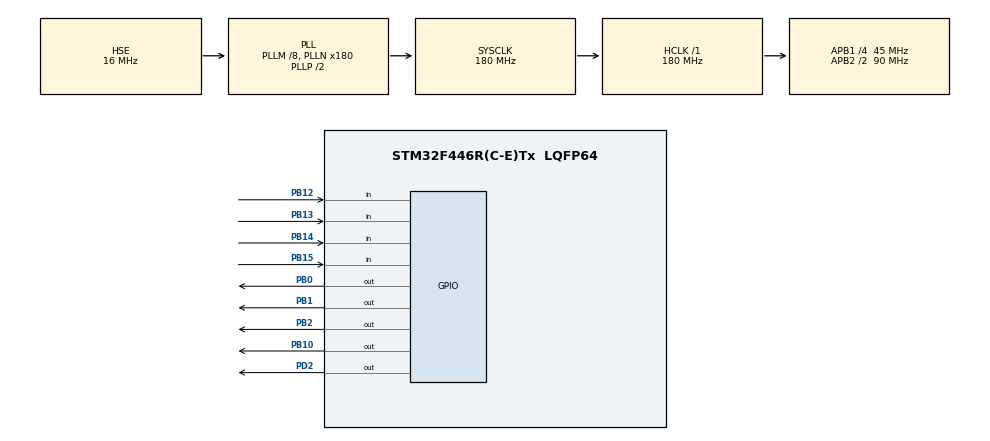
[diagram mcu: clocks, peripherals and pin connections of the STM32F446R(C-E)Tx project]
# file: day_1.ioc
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Mcu.Family=STM32F4
Mcu.Name=STM32F446R(C-E)Tx
Mcu.Package=LQFP64
NVIC.PriorityGroup=NVIC_PRIORITYGROUP_4
PA13.Mode=Serial_Wire
PA13.Signal=SYS_JTMS-SWDIO
PA14.Mode=Serial_Wire
PA14.Signal=SYS_JTCK-SWCLK
PB0.Signal=GPIO_Output
PB1.Signal=GPIO_Output
PB10.Signal=GPIO_Output
PB12.Signal=GPIO_Input
PB13.Signal=GPIO_Input
PB14.Signal=GPIO_Input
PB15.Signal=GPIO_Input
PB2.Signal=GPIO_Output
PD2.Signal=GPIO_Output
PH0-OSC_IN.Mode=HSE-External-Oscillator
PH0-OSC_IN.Signal=RCC_OSC_IN
PH1-OSC_OUT.Mode=HSE-External-Oscillator
PH1-OSC_OUT.Signal=RCC_OSC_OUT
ProjectManager.HeapSize=0x200
ProjectManager.StackSize=0x400
ProjectManager.TargetToolchain=STM32CubeIDE
RCC.AHBFreq_Value=180000000
RCC.APB1CLKDivider=RCC_HCLK_DIV4
RCC.APB1Freq_Value=45000000
RCC.APB1TimFreq_Value=90000000
RCC.APB2CLKDivider=RCC_HCLK_DIV2
RCC.APB2Freq_Value=90000000
RCC.APB2TimFreq_Value=180000000
RCC.CortexFreq_Value=180000000
RCC.HCLKFreq_Value=180000000
RCC.HSE_VALUE=16000000
RCC.PLLM=8
RCC.PLLN=180
RCC.PLLSourceVirtual=RCC_PLLSOURCE_HSE
RCC.SYSCLKFreq_VALUE=180000000
RCC.SYSCLKSource=RCC_SYSCLKSOURCE_PLLCLK
RCC.USBFreq_Value=180000000
RCC.VCOOutputFreq_Value=360000000
board=custom

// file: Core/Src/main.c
/* USER CODE BEGIN Header */
/**
 ******************************************************************************
 * @file           : main.c
 * @brief          : Main program body
 ******************************************************************************
 * @attention
 *
 * Copyright (c) 2026 STMicroelectronics.
 * All rights reserved.
 *
 * This software is licensed under terms that can be found in the LICENSE file
 * in the root directory of this software component.
 * If no LICENSE file comes with this software, it is provided AS-IS.
 *
 ******************************************************************************
 */
/* USER CODE END Header */
#include "main.h"
#include "gpio.h"

/* USER CODE BEGIN PV */

uint8_t LED_DATA = 0x01; // 해당 번호의 LED 점등
uint8_t SW_DATA; // sw 데이터. LSB(오른쪽)부터 PB12,13,14,15

/* USER CODE END PV */

void SystemClock_Config(void);
/* USER CODE BEGIN PFP */

// LED움직임을 계산하여 전역변수에 넣기
void mov_dir_led();

// 전역변수 위치에 맞는 LED 켜기
void led_on();

// 스위치 데이터를 세팅하는 함수
void sw_data_set();

/* USER CODE END PFP */

int main(void) {

	/* MCU Configuration--------------------------------------------------------*/

	/* Reset of all peripherals, Initializes the Flash interface and the Systick. */
	HAL_Init();

	/* Configure the system clock */
	SystemClock_Config();

	/* Initialize all configured peripherals */
	MX_GPIO_Init();

	/* Infinite loop */
	while (1) {

		/* USER CODE BEGIN 3 */
		sw_data_set();
		mov_dir_led();
		HAL_Delay(500);
	}
	/* USER CODE END 3 */
}

void SystemClock_Config(void) {
	RCC_OscInitTypeDef RCC_OscInitStruct = { 0 };
	RCC_ClkInitTypeDef RCC_ClkInitStruct = { 0 };

	/** Configure the main internal regulator output voltage
	 */
	__HAL_RCC_PWR_CLK_ENABLE();
	__HAL_PWR_VOLTAGESCALING_CONFIG(PWR_REGULATOR_VOLTAGE_SCALE1);

	/** Initializes the RCC Oscillators according to the specified parameters
	 * in the RCC_OscInitTypeDef structure.
	 */
	RCC_OscInitStruct.OscillatorType = RCC_OSCILLATORTYPE_HSE;
	RCC_OscInitStruct.HSEState = RCC_HSE_ON;
	RCC_OscInitStruct.PLL.PLLState = RCC_PLL_ON;
	RCC_OscInitStruct.PLL.PLLSource = RCC_PLLSOURCE_HSE;
	RCC_OscInitStruct.PLL.PLLM = 8;
	RCC_OscInitStruct.PLL.PLLN = 180;
	RCC_OscInitStruct.PLL.PLLP = RCC_PLLP_DIV2;
	RCC_OscInitStruct.PLL.PLLQ = 2;
	RCC_OscInitStruct.PLL.PLLR = 2;
	if (HAL_RCC_OscConfig(&RCC_OscInitStruct) != HAL_OK) {
		Error_Handler();
	}

	/** Activate the Over-Drive mode
	 */
	if (HAL_PWREx_EnableOverDrive() != HAL_OK) {
		Error_Handler();
	}

	/** Initializes the CPU, AHB and APB buses clocks
	 */
	RCC_ClkInitStruct.ClockType = RCC_CLOCKTYPE_HCLK | RCC_CLOCKTYPE_SYSCLK
			| RCC_CLOCKTYPE_PCLK1 | RCC_CLOCKTYPE_PCLK2;
	RCC_ClkInitStruct.SYSCLKSource = RCC_SYSCLKSOURCE_PLLCLK;
	RCC_ClkInitStruct.AHBCLKDivider = RCC_SYSCLK_DIV1;
	RCC_ClkInitStruct.APB1CLKDivider = RCC_HCLK_DIV4;
	RCC_ClkInitStruct.APB2CLKDivider = RCC_HCLK_DIV2;

	if (HAL_RCC_ClockConfig(&RCC_ClkInitStruct, FLASH_LATENCY_5) != HAL_OK) {
		Error_Handler();
	}
}

/* USER CODE BEGIN 4 */

void mov_dir_led() {
	if (SW_DATA & 0x08)
		HAL_GPIO_TogglePin(GPIOD, GPIO_PIN_2);

	if (SW_DATA & 0x04) { // 2중 이동이 꺼지면
		if (SW_DATA & 0x01) // 우측이동이 켜지면
		{
			LED_DATA = LED_DATA << 1;
			if (LED_DATA & 0x10) // 오버플로우 되면
				LED_DATA = 0x01;
		}
		else
		{
			LED_DATA = LED_DATA >> 1;
			if (LED_DATA == 0x00) // 오버플로우 되면
				LED_DATA = 0x08;
		}
	}
	else
	{
		// 2중이동이 켜지면
		if (SW_DATA & 0x01) // 우측이동이 켜지면
		{
			LED_DATA = LED_DATA << 1;
			if(LED_DATA >= 0x18)
				LED_DATA = 0x09;
			else if(LED_DATA == 0x12)
				LED_DATA = 0x03;
		}
		else
		{
			LED_DATA = LED_DATA >> 1;
			if(LED_DATA == 0x01)
				LED_DATA = 0x09;
			else if(LED_DATA == 0x04)
				LED_DATA = 0x0C;
		}
	}

	led_on();

}

void led_on() {
	if (SW_DATA & 0x02) // LED on off 반전
			{
		if (LED_DATA & 0x01)
			HAL_GPIO_WritePin(GPIOB, GPIO_PIN_0, GPIO_PIN_RESET);
		else
			HAL_GPIO_WritePin(GPIOB, GPIO_PIN_0, GPIO_PIN_SET);

		if (LED_DATA & 0x02)
			HAL_GPIO_WritePin(GPIOB, GPIO_PIN_1, GPIO_PIN_RESET);
		else
			HAL_GPIO_WritePin(GPIOB, GPIO_PIN_1, GPIO_PIN_SET);

		if (LED_DATA & 0x04)
			HAL_GPIO_WritePin(GPIOB, GPIO_PIN_2, GPIO_PIN_RESET);
		else
			HAL_GPIO_WritePin(GPIOB, GPIO_PIN_2, GPIO_PIN_SET);

		if (LED_DATA & 0x08)
			HAL_GPIO_WritePin(GPIOB, GPIO_PIN_10, GPIO_PIN_RESET);
		else
			HAL_GPIO_WritePin(GPIOB, GPIO_PIN_10, GPIO_PIN_SET);
	} else {
		if (LED_DATA & 0x01)
			HAL_GPIO_WritePin(GPIOB, GPIO_PIN_0, GPIO_PIN_SET);
		else
			HAL_GPIO_WritePin(GPIOB, GPIO_PIN_0, GPIO_PIN_RESET);

		if (LED_DATA & 0x02)
			HAL_GPIO_WritePin(GPIOB, GPIO_PIN_1, GPIO_PIN_SET);
		else
			HAL_GPIO_WritePin(GPIOB, GPIO_PIN_1, GPIO_PIN_RESET);

		if (LED_DATA & 0x04)
			HAL_GPIO_WritePin(GPIOB, GPIO_PIN_2, GPIO_PIN_SET);
		else
			HAL_GPIO_WritePin(GPIOB, GPIO_PIN_2, GPIO_PIN_RESET);

		if (LED_DATA & 0x08)
			HAL_GPIO_WritePin(GPIOB, GPIO_PIN_10, GPIO_PIN_SET);
		else
			HAL_GPIO_WritePin(GPIOB, GPIO_PIN_10, GPIO_PIN_RESET);
	}
}

void sw_data_set() {
	if (HAL_GPIO_ReadPin(GPIOB, GPIO_PIN_12))
		SW_DATA |= 0x01;
	else
		SW_DATA &= ~(0x01);

	if (HAL_GPIO_ReadPin(GPIOB, GPIO_PIN_13))
		SW_DATA |= 0x02;
	else
		SW_DATA &= ~(0x02);

	if (HAL_GPIO_ReadPin(GPIOB, GPIO_PIN_14))
		SW_DATA |= 0x04;
	else
		SW_DATA &= ~(0x04);

	if (HAL_GPIO_ReadPin(GPIOB, GPIO_PIN_15))
		SW_DATA |= 0x08;
	else
		SW_DATA &= ~(0x08);
}

/* USER CODE END 4 */

void Error_Handler(void) {
	__disable_irq();
	while (1) {
	}
}
